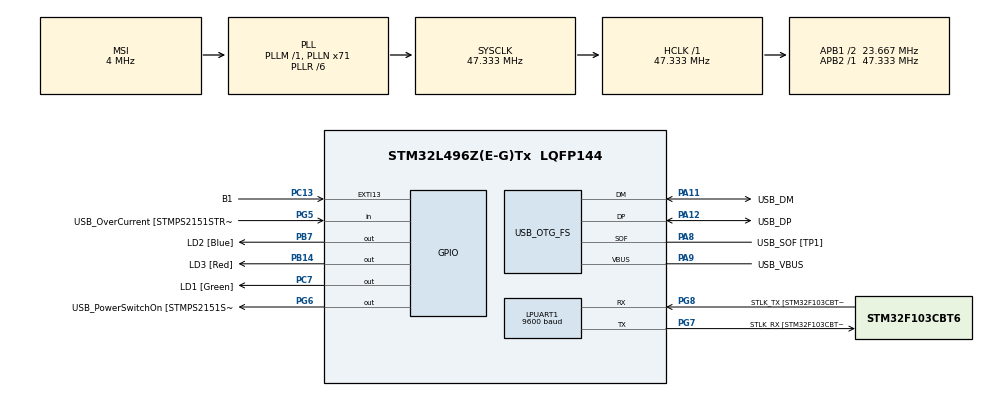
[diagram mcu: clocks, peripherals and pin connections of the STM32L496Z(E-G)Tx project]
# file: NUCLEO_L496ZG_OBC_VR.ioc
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CRC.InputDataInversionMode=CRC_INPUTDATA_INVERSION_BYTE
CRC.OutputDataInversionMode=CRC_OUTPUTDATA_INVERSION_ENABLE
LPUART1.BaudRate=9600
LPUART1.WordLength=UART_WORDLENGTH_8B
Mcu.Family=STM32L4
Mcu.Name=STM32L496Z(E-G)Tx
Mcu.Package=LQFP144
NVIC.LPUART1_IRQn=true\:0\:0\:false\:false\:true\:true\:true\:true
NVIC.OTG_FS_IRQn=true\:0\:0\:false\:false\:true\:false\:true\:true
NVIC.PriorityGroup=NVIC_PRIORITYGROUP_4
PA10.GPIO_Label=USB_ID
PA10.Signal=USB_OTG_FS_ID
PA11.GPIO_Label=USB_DM
PA11.Mode=Device_Only
PA11.Signal=USB_OTG_FS_DM
PA12.GPIO_Label=USB_DP
PA12.Mode=Device_Only
PA12.Signal=USB_OTG_FS_DP
PA13\ (JTMS/SWDIO).GPIO_Label=TMS
PA13\ (JTMS/SWDIO).Mode=Trace_Asynchronous_SW
PA13\ (JTMS/SWDIO).Signal=SYS_JTMS-SWDIO
PA14\ (JTCK/SWCLK).GPIO_Label=TCK
PA14\ (JTCK/SWCLK).Mode=Trace_Asynchronous_SW
PA14\ (JTCK/SWCLK).Signal=SYS_JTCK-SWCLK
PA8.GPIO_Label=USB_SOF [TP1]
PA8.Mode=Activate_SOF_FS
PA8.Signal=USB_OTG_FS_SOF
PA9.GPIO_Label=USB_VBUS
PA9.Mode=Activate_VBUS
PA9.Signal=USB_OTG_FS_VBUS
PB14.GPIO_Label=LD3 [Red]
PB14.Signal=GPIO_Output
PB3\ (JTDO/TRACESWO).GPIO_Label=SWO
PB3\ (JTDO/TRACESWO).Mode=Trace_Asynchronous_SW
PB3\ (JTDO/TRACESWO).Signal=SYS_JTDO-SWO
PB7.GPIO_Label=LD2 [Blue]
PB7.Signal=GPIO_Output
PC13.GPIO_Label=B1
PC13.Signal=GPXTI13
PC14-OSC32_IN\ (PC14).Mode=LSE-External-Oscillator
PC14-OSC32_IN\ (PC14).Signal=RCC_OSC32_IN
PC15-OSC32_OUT\ (PC15).Mode=LSE-External-Oscillator
PC15-OSC32_OUT\ (PC15).Signal=RCC_OSC32_OUT
PC7.GPIO_Label=LD1 [Green]
PC7.Signal=GPIO_Output
PG5.GPIO_Label=USB_OverCurrent [STMPS2151STR_FAULT]
PG5.Signal=GPIO_Input
PG6.GPIO_Label=USB_PowerSwitchOn [STMPS2151STR_EN]
PG6.Signal=GPIO_Output
PG7.GPIO_Label=STLK_RX [STM32F103CBT6_PA3]
PG7.Mode=Asynchronous
PG7.Signal=LPUART1_TX
PG8.GPIO_Label=STLK_TX [STM32F103CBT6_PA2]
PG8.Mode=Asynchronous
PG8.Signal=LPUART1_RX
PH1-OSC_OUT\ (PH1).Signal=RCC_OSC_OUT
ProjectManager.HeapSize=0x200
ProjectManager.StackSize=0x400
ProjectManager.TargetToolchain=STM32CubeIDE
RCC.48MHZClocksFreq_Value=24000000
RCC.ADCFreq_Value=48000000
RCC.AHBFreq_Value=47333333.333333336
RCC.APB1CLKDivider=RCC_HCLK_DIV2
RCC.APB1Freq_Value=23666666.666666668
RCC.APB1TimFreq_Value=47333333.333333336
RCC.APB2Freq_Value=47333333.333333336
RCC.APB2TimFreq_Value=47333333.333333336
RCC.CortexFreq_Value=47333333.333333336
RCC.HCLKFreq_Value=47333333.333333336
RCC.HSE_VALUE=8000000
RCC.HSI48_VALUE=48000000
RCC.HSI_VALUE=16000000
RCC.MSI_VALUE=4000000
RCC.PLLMUL=RCC_PLL_MUL9
RCC.PLLN=71
RCC.PLLR=RCC_PLLR_DIV6
RCC.PLLSAI1N=24
RCC.PRESCALERUSB=RCC_USBCLKSOURCE_PLL_DIV1_5
RCC.SYSCLKFreq_VALUE=47333333.333333336
RCC.SYSCLKSource=RCC_SYSCLKSOURCE_PLLCLK
RCC.SYSCLKSourceVirtual=RCC_SYSCLKSOURCE_PLLCLK
RCC.USBFreq_Value=48000000
RCC.VCOOutputFreq_Value=284000000
USB_DEVICE.CLASS_NAME_FS=CDC
USB_DEVICE.MANUFACTURER_STRING=OpenFruit.
USB_DEVICE.PID_CDC_FS=0x0BC1
USB_DEVICE.PRODUCT_STRING_CDC_FS=Aerospace VCP
USB_DEVICE.VID=0xF055
USB_DEVICE.VirtualMode=Cdc
USB_DEVICE.VirtualModeFS=Cdc_FS
USB_OTG_FS.VirtualMode=Device_Only
VP_CRC_VS_CRC.Mode=CRC_Activate
VP_USB_DEVICE_VS_USB_DEVICE_CDC_FS.Mode=CDC_FS
board=NUCLEO-L496ZG

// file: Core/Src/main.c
/* USER CODE BEGIN Header */
/**
  ******************************************************************************
  * @file           : main.c
  * @brief          : Main program body
  ******************************************************************************
  * @attention
  *
  * Copyright (c) 2026 STMicroelectronics.
  * All rights reserved.
  *
  * This software is licensed under terms that can be found in the LICENSE file
  * in the root directory of this software component.
  * If no LICENSE file comes with this software, it is provided AS-IS.
  *
  ******************************************************************************
  */
/* USER CODE END Header */
#include "main.h"
#include "usb_device.h"

/* USER CODE BEGIN Includes */
#include "stdio.h"
#include "usbd_cdc_if.h"
#include <string.h>
#include <stdarg.h>
#include "../../OBC_Software/Common/obc_packet.h"
#include "../../OBC_Software/Subsystems/VR/subsystem_vr.h"
/* USER CODE END Includes */

/* USER CODE BEGIN PD */
#define PUTCHAR_PROTOTYPE int __io_putchar(int ch)
/* USER CODE END PD */

CRC_HandleTypeDef hcrc;

UART_HandleTypeDef hlpuart1;

/* USER CODE BEGIN PV */
// --- Buffer A: ISR Accumulator (High Priority) ---
// Used exclusively by OBC_On_Receive() to build up incoming frames byte-by-byte.
uint8_t isr_rx_buffer[MAX_FRAME_SIZE];
uint8_t isr_rx_idx = 0;
uint8_t uart_rx_char; // for single-byte UART interrupt

// --- Buffer B: Application Processor (Low Priority) ---
// Safe copy of the frame for the main loop to process without blocking interrupts.
uint8_t app_process_buffer[MAX_FRAME_SIZE];
uint16_t app_process_len = 0;

// Flag: 1 = Buffer B has data pending, 0 = Buffer B is empty/processed
volatile uint8_t is_frame_ready = 0;

// --- Ground Station Buffers (LPUART1) ---
uint8_t gs_isr_buffer[MAX_FRAME_SIZE];
uint8_t gs_isr_idx = 0;
uint8_t gs_app_buffer[MAX_FRAME_SIZE];
uint16_t gs_app_len = 0;
volatile uint8_t is_gs_frame_ready = 0;
// --- LED Timers ---
uint32_t gs_led_timer = 0;
/* USER CODE END PV */

void SystemClock_Config(void);
static void MX_GPIO_Init(void);
static void MX_LPUART1_UART_Init(void);
static void MX_CRC_Init(void);
/* USER CODE BEGIN PFP */
void OBC_Process_Loop(void);
void OBC_On_Receive(uint8_t* Buf, uint32_t *Len);
void OBC_Log(const char *fmt, ...);
/* USER CODE END PFP */

int main(void)
{

  /* MCU Configuration--------------------------------------------------------*/

  /* Reset of all peripherals, Initializes the Flash interface and the Systick. */
  HAL_Init();

  /* USER CODE BEGIN Init */
  setvbuf(stdout, NULL, _IONBF, 0); // Disable buffering for printf
  /* USER CODE END Init */

  /* Configure the system clock */
  SystemClock_Config();

  /* Initialize all configured peripherals */
  MX_GPIO_Init();
  MX_LPUART1_UART_Init();
  MX_USB_DEVICE_Init();
  MX_CRC_Init();
  /* USER CODE BEGIN 2 */
  OBC_Packet_Init(&hcrc);
  VR_Init();
  OBC_Log("[OBC] System Booted. VCP Active.");
  HAL_UART_Receive_IT(&hlpuart1, &uart_rx_char, 1);
  /* USER CODE END 2 */

  /* Infinite loop */
  /* USER CODE BEGIN WHILE */
  while (1)
  {
    OBC_Process_Loop();
    /* USER CODE END WHILE */

  }
}

void SystemClock_Config(void)
{
  RCC_OscInitTypeDef RCC_OscInitStruct = {0};
  RCC_ClkInitTypeDef RCC_ClkInitStruct = {0};

  /** Configure the main internal regulator output voltage
  */
  if (HAL_PWREx_ControlVoltageScaling(PWR_REGULATOR_VOLTAGE_SCALE1) != HAL_OK)
  {
    Error_Handler();
  }

  /** Configure LSE Drive Capability
  */
  HAL_PWR_EnableBkUpAccess();
  __HAL_RCC_LSEDRIVE_CONFIG(RCC_LSEDRIVE_LOW);

  /** Initializes the RCC Oscillators according to the specified parameters
  * in the RCC_OscInitTypeDef structure.
  */
  RCC_OscInitStruct.OscillatorType = RCC_OSCILLATORTYPE_LSE|RCC_OSCILLATORTYPE_MSI;
  RCC_OscInitStruct.LSEState = RCC_LSE_ON;
  RCC_OscInitStruct.MSIState = RCC_MSI_ON;
  RCC_OscInitStruct.MSICalibrationValue = 0;
  RCC_OscInitStruct.MSIClockRange = RCC_MSIRANGE_6;
  RCC_OscInitStruct.PLL.PLLState = RCC_PLL_ON;
  RCC_OscInitStruct.PLL.PLLSource = RCC_PLLSOURCE_MSI;
  RCC_OscInitStruct.PLL.PLLM = 1;
  RCC_OscInitStruct.PLL.PLLN = 71;
  RCC_OscInitStruct.PLL.PLLP = RCC_PLLP_DIV2;
  RCC_OscInitStruct.PLL.PLLQ = RCC_PLLQ_DIV2;
  RCC_OscInitStruct.PLL.PLLR = RCC_PLLR_DIV6;
  if (HAL_RCC_OscConfig(&RCC_OscInitStruct) != HAL_OK)
  {
    Error_Handler();
  }

  /** Initializes the CPU, AHB and APB buses clocks
  */
  RCC_ClkInitStruct.ClockType = RCC_CLOCKTYPE_HCLK|RCC_CLOCKTYPE_SYSCLK
                              |RCC_CLOCKTYPE_PCLK1|RCC_CLOCKTYPE_PCLK2;
  RCC_ClkInitStruct.SYSCLKSource = RCC_SYSCLKSOURCE_PLLCLK;
  RCC_ClkInitStruct.AHBCLKDivider = RCC_SYSCLK_DIV1;
  RCC_ClkInitStruct.APB1CLKDivider = RCC_HCLK_DIV2;
  RCC_ClkInitStruct.APB2CLKDivider = RCC_HCLK_DIV1;

  if (HAL_RCC_ClockConfig(&RCC_ClkInitStruct, FLASH_LATENCY_2) != HAL_OK)
  {
    Error_Handler();
  }

  /** Enable MSI Auto calibration
  */
  HAL_RCCEx_EnableMSIPLLMode();
}

static void MX_CRC_Init(void)
{

  hcrc.Instance = CRC;
  hcrc.Init.DefaultPolynomialUse = DEFAULT_POLYNOMIAL_ENABLE;
  hcrc.Init.DefaultInitValueUse = DEFAULT_INIT_VALUE_ENABLE;
  hcrc.Init.InputDataInversionMode = CRC_INPUTDATA_INVERSION_BYTE;
  hcrc.Init.OutputDataInversionMode = CRC_OUTPUTDATA_INVERSION_ENABLE;
  hcrc.InputDataFormat = CRC_INPUTDATA_FORMAT_BYTES;
  if (HAL_CRC_Init(&hcrc) != HAL_OK)
  {
    Error_Handler();
  }

}

static void MX_LPUART1_UART_Init(void)
{

  hlpuart1.Instance = LPUART1;
  hlpuart1.Init.BaudRate = 9600;
  hlpuart1.Init.WordLength = UART_WORDLENGTH_8B;
  hlpuart1.Init.StopBits = UART_STOPBITS_1;
  hlpuart1.Init.Parity = UART_PARITY_NONE;
  hlpuart1.Init.Mode = UART_MODE_TX_RX;
  hlpuart1.Init.HwFlowCtl = UART_HWCONTROL_NONE;
  hlpuart1.Init.OneBitSampling = UART_ONE_BIT_SAMPLE_DISABLE;
  hlpuart1.AdvancedInit.AdvFeatureInit = UART_ADVFEATURE_NO_INIT;
  if (HAL_UART_Init(&hlpuart1) != HAL_OK)
  {
    Error_Handler();
  }
  /* USER CODE BEGIN LPUART1_Init 2 */
  // Manually disable FIFO and set baudrate again to be sure (since regeneration might have messed flags)
  hlpuart1.Init.BaudRate = 9600;
  if (HAL_UART_Init(&hlpuart1) != HAL_OK)
  {
    Error_Handler();
  }
  /* USER CODE END LPUART1_Init 2 */

}

static void MX_GPIO_Init(void)
{
  GPIO_InitTypeDef GPIO_InitStruct = {0};

  /* GPIO Ports Clock Enable */
  __HAL_RCC_GPIOC_CLK_ENABLE();
  __HAL_RCC_GPIOH_CLK_ENABLE();
  __HAL_RCC_GPIOB_CLK_ENABLE();
  __HAL_RCC_GPIOG_CLK_ENABLE();
  HAL_PWREx_EnableVddIO2();
  __HAL_RCC_GPIOA_CLK_ENABLE();

  /*Configure GPIO pin Output Level */
  HAL_GPIO_WritePin(GPIOB, LD3_Pin|LD2_Pin, GPIO_PIN_RESET);

  /*Configure GPIO pin Output Level */
  HAL_GPIO_WritePin(USB_PowerSwitchOn_GPIO_Port, USB_PowerSwitchOn_Pin, GPIO_PIN_RESET);

  /*Configure GPIO pin Output Level */
  HAL_GPIO_WritePin(LD1_GPIO_Port, LD1_Pin, GPIO_PIN_RESET);

  /*Configure GPIO pin : B1_Pin */
  GPIO_InitStruct.Pin = B1_Pin;
  GPIO_InitStruct.Mode = GPIO_MODE_IT_RISING;
  GPIO_InitStruct.Pull = GPIO_NOPULL;
  HAL_GPIO_Init(B1_GPIO_Port, &GPIO_InitStruct);

  /*Configure GPIO pins : LD3_Pin LD2_Pin */
  GPIO_InitStruct.Pin = LD3_Pin|LD2_Pin;
  GPIO_InitStruct.Mode = GPIO_MODE_OUTPUT_PP;
  GPIO_InitStruct.Pull = GPIO_NOPULL;
  GPIO_InitStruct.Speed = GPIO_SPEED_FREQ_LOW;
  HAL_GPIO_Init(GPIOB, &GPIO_InitStruct);

  /*Configure GPIO pin : USB_OverCurrent_Pin */
  GPIO_InitStruct.Pin = USB_OverCurrent_Pin;
  GPIO_InitStruct.Mode = GPIO_MODE_INPUT;
  GPIO_InitStruct.Pull = GPIO_NOPULL;
  HAL_GPIO_Init(USB_OverCurrent_GPIO_Port, &GPIO_InitStruct);

  /*Configure GPIO pin : USB_PowerSwitchOn_Pin */
  GPIO_InitStruct.Pin = USB_PowerSwitchOn_Pin;
  GPIO_InitStruct.Mode = GPIO_MODE_OUTPUT_PP;
  GPIO_InitStruct.Pull = GPIO_NOPULL;
  GPIO_InitStruct.Speed = GPIO_SPEED_FREQ_LOW;
  HAL_GPIO_Init(USB_PowerSwitchOn_GPIO_Port, &GPIO_InitStruct);

  /*Configure GPIO pin : LD1_Pin */
  GPIO_InitStruct.Pin = LD1_Pin;
  GPIO_InitStruct.Mode = GPIO_MODE_OUTPUT_PP;
  GPIO_InitStruct.Pull = GPIO_NOPULL;
  GPIO_InitStruct.Speed = GPIO_SPEED_FREQ_LOW;
  HAL_GPIO_Init(LD1_GPIO_Port, &GPIO_InitStruct);

}

/* USER CODE BEGIN 4 */
// For printf() via STLink UART
PUTCHAR_PROTOTYPE
{
  /* Place your implementation of fputc here */
  /* e.g. write a character to the USART1 and Loop until the end of transmission */
  HAL_UART_Transmit(&hlpuart1, (uint8_t *)&ch, 1, 0xFFFF);

  // Blink GS LED
  HAL_GPIO_WritePin(LD1_GPIO_Port, LD1_Pin, GPIO_PIN_SET);
  gs_led_timer = HAL_GetTick();

  return ch;
}

// --- OBC Logging (Framed) ---
void OBC_Log(const char *fmt, ...) {
    char buf[256];
    va_list args;
    va_start(args, fmt);
    vsnprintf(buf, sizeof(buf), fmt, args);
    va_end(args);

    uint16_t msg_len = strlen(buf);
    // Frame Format: [0x01] [ASCII Message] [CRC32]
    uint8_t payload[300];
    payload[0] = 0x01; // Log Command ID
    if (msg_len > 250) msg_len = 250;
    memcpy(&payload[1], buf, msg_len);

    // Calculate CRC (CMD + Content)
    uint32_t crc = OBC_Calculate_CRC(payload, msg_len + 1);

    uint16_t p_idx = msg_len + 1;
    memcpy(&payload[p_idx], &crc, 4);
    p_idx += 4;

    uint8_t tx_frame[600];
    uint16_t enc_len = SLIP_Encode(payload, p_idx, tx_frame);
    HAL_UART_Transmit(&hlpuart1, tx_frame, enc_len, 1000);

    // Blink GS LED
    HAL_GPIO_WritePin(LD1_GPIO_Port, LD1_Pin, GPIO_PIN_SET);
    gs_led_timer = HAL_GetTick();
}

// --- Main Process Loop (Runs in while(1)) ---
void OBC_Process_Loop(void) {
    static uint32_t last_tick = 0;

    // 1. Process Received Packets (VR Simulator - Buffer B)
    if (is_frame_ready) {
        uint8_t decoded[512];
        uint16_t dec_len = SLIP_Decode(app_process_buffer, app_process_len, decoded);

        // Pass to VR Subsystem
        VR_Handle_Packet(decoded, dec_len);

        // Mark Buffer B as empty
        is_frame_ready = 0;
    }

    // 1b. Process Ground Station Packets (LPUART1)
    if (is_gs_frame_ready) {
        uint8_t decoded_gs[512];
        uint16_t dec_len = SLIP_Decode(gs_app_buffer, gs_app_len, decoded_gs);

        // Validate CRC (GS -> OBC)
        uint8_t gs_crc_ok = 0;
        if (dec_len >= 5) {
            //  [KISS_CMD] + [CRC:4] = 5 bytes (Empty payload)
             uint32_t rx_crc;
             memcpy(&rx_crc, &decoded_gs[dec_len-4], 4);

             uint32_t calc_crc = OBC_Calculate_CRC(decoded_gs, dec_len-4);

             if (calc_crc == rx_crc) gs_crc_ok = 1;
             else OBC_Log("[OBC] GS CRC Fail: Rx %08X vs Calc %08X", rx_crc, calc_crc);
        } else if (dec_len > 0) {
             OBC_Log("[OBC] GS Error: Payload too short (%d)", dec_len);
        }

        if (gs_crc_ok) {
             // Index 0 is KISS CMD (should be 0x00), Index 1 is APP CMD
             uint8_t kiss_cmd = decoded_gs[0];
             uint8_t cmd_id = decoded_gs[1];

             if (kiss_cmd == 0x00) {
                 if (cmd_id == 0x12) {
                     OBC_Log("[OBC] GS CMD: Capture!");
                     if (VR_IsOnline()) VR_SendCmd(VR_CMD_CAPTURE_RES);
                     else OBC_Log("[OBC] VR Offline! Cannot Capture.");
                 }
                 else if (cmd_id == 0x10) {
                     OBC_Log("[OBC] GS CMD: Ping!");
                     if (VR_IsOnline()) VR_RequestGSPing();
                     else OBC_Log("[OBC] VR Offline! Pong failed.");
                 }
                 else if (cmd_id == 0x20) {
                     OBC_Log("[OBC] GS CMD: Status Req!");
                     if (VR_IsOnline()) VR_SendCmd(VR_CMD_STATUS_RES);
                     else OBC_Log("[OBC] VR Offline! No Status.");
                 }
                 else if (cmd_id == 0x13) {
                     // Get Chunk ID from payload (2 bytes)
                     // Packet: [CMD:1] [ID_L] [ID_H]
                     if (dec_len >= 4) { // CMD + 2 + CRC (implied valid if we are here, payload is dec_len - 4)
                         uint16_t payload_len = dec_len - 4; // Excluding CRC
                         // payload: [KISS] [APP] [DATA...]
                         if (payload_len >= 4) { // Needs [KISS] [APP] [ID_L] [ID_H]
                             uint16_t req_id = decoded_gs[2] | (decoded_gs[3] << 8);
                             // NO LOGGING to avoid flooding the bridge
                             if (VR_IsOnline()) VR_SendChunkReq(req_id);
                         }
                     }
                 }
             }
        }

        is_gs_frame_ready = 0;
    }

    // LED Off Logic (Blink effect)
    if (gs_led_timer > 0 && (HAL_GetTick() - gs_led_timer > 50)) {
        HAL_GPIO_WritePin(LD1_GPIO_Port, LD1_Pin, GPIO_PIN_RESET);
        gs_led_timer = 0;
    }

    // 2. Periodic Tasks
    if (HAL_GetTick() - last_tick > 1000) {
        last_tick = HAL_GetTick();

        // Heartbeat LED (Red)
        HAL_GPIO_TogglePin(LD3_GPIO_Port, LD3_Pin);
    }

    // Run VR Update frequently to handle 20ms LED timing and timeouts
    VR_Update();
}

// --- UART Error Callback ---
// Restart reception if an error (Overrun, Noise, Framing) occurs
void HAL_UART_ErrorCallback(UART_HandleTypeDef *huart) {
    if (huart->Instance == LPUART1) {
        // Clear Error Flags (handled by HAL, but good to be explicit about intent)
        // Restart Reception
        HAL_UART_Receive_IT(&hlpuart1, &uart_rx_char, 1);
    }
}

// --- UART RX Callback (PC Commands) ---
void HAL_UART_RxCpltCallback(UART_HandleTypeDef *huart) {
    if (huart->Instance == LPUART1) {

        // 1. Accumulate Byte
        if (gs_isr_idx < MAX_FRAME_SIZE) {
            gs_isr_buffer[gs_isr_idx++] = uart_rx_char;
        }

        // 2. Sync Check: Reset if first byte isn't FEND
        if (gs_isr_idx == 1 && uart_rx_char != FEND) {
            gs_isr_idx = 0;
        }

        // 3. End of Frame Check
        if (gs_isr_idx > 1 && uart_rx_char == FEND) {
            if (is_gs_frame_ready == 0) {
                 // Move to App Buffer
                 memcpy(gs_app_buffer, gs_isr_buffer, gs_isr_idx);
                 gs_app_len = gs_isr_idx;
                 is_gs_frame_ready = 1;
            }
            gs_isr_idx = 0;
        }

        // Re-arm interrupt
        HAL_UART_Receive_IT(&hlpuart1, &uart_rx_char, 1);
    }
}

// --- Receive Handler (Called from usbd_cdc_if.c ISR) ---
// This fills Buffer A (Accumulator) and copies to Buffer B when complete
void OBC_On_Receive(uint8_t* Buf, uint32_t *Len) {
    for (uint32_t i = 0; i < *Len; i++) {
        uint8_t byte = Buf[i];

        // 1. Accumulate Byte in Buffer A
        if (isr_rx_idx < MAX_FRAME_SIZE) {
            isr_rx_buffer[isr_rx_idx++] = byte;
        }

        // 2. Sync Check: Reset if first byte isn't Start Marker (FEND)
        if (isr_rx_idx == 1 && byte != FEND) {
            isr_rx_idx = 0;
        }

        // 3. End of Frame Check
        if (isr_rx_idx > 1 && byte == FEND) {
            // Frame is complete. Try to move Buffer A -> Buffer B

            if (is_frame_ready == 0) {
                 // Buffer B is free. Perform the Copy.
                 memcpy(app_process_buffer, isr_rx_buffer, isr_rx_idx);
                 app_process_len = isr_rx_idx;

                 // Signal Main Loop
                 is_frame_ready = 1;
            }
            // else: Buffer B is still busy being processed by Main Loop.
            // We drop this frame to prevent data corruption.

            // Reset Buffer A Index for next frame
            isr_rx_idx = 0;
        }
    }
}
/* USER CODE END 4 */

void Error_Handler(void)
{
  __disable_irq();
  while (1)
  {
  }
}
